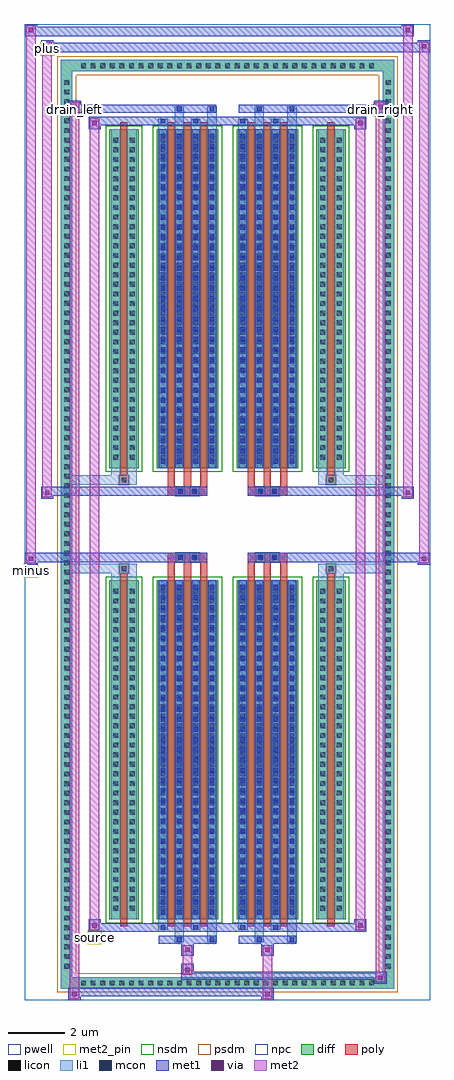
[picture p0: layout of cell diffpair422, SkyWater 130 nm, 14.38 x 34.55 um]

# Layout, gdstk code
import gdstk
lib = gdstk.Library(unit=1e-6, precision=5e-09)
def R(c, l, rs):  # rectangles x0, y0, x1, y1
    for r in rs: c.add(gdstk.rectangle(r[:2], r[2:], *l))
def A(c, l, x, y, w, h, nx, ny, dx, dy):  # array of equal rectangles
    R(c, l, [(x+i*dx, y+j*dy, x+i*dx+w, y+j*dy+h) for i in range(nx) for j in range(ny)])
def P(c, l, *ps):  # polygons
    for p in ps: c.add(gdstk.Polygon(p, *l))
pwell = (64, 44)
diff = (65, 20)
poly = (66, 20)
licon = (66, 44)
li1 = (67, 20)
mcon = (67, 44)
met1 = (68, 20)
via = (68, 44)
met2_pin = (69, 16)
met2 = (69, 20)
nsdm = (93, 44)
psdm = (94, 20)
npc = (95, 20)

diffpair422 = lib.new_cell('diffpair422')
R(diffpair422, pwell, [(-7.17,-16.84,7.17,17.71), (-4.49,-15.03,-0.01,-0.805), (0.01,-15.03,4.49,-0.805), (-4.49,0.805,-0.01,15.03), (0.01,0.805,4.49,15.03)])
A(diffpair422, diff, -5.305, -16.44, 0.41, 0.41, 31, 2, 0.34, 32.47)
A(diffpair422, diff, -5.9, -15.845, 0.41, 0.41, 1, 93, 0, 0.34)
A(diffpair422, diff, 5.49, -15.845, 0.41, 0.41, 1, 93, 0, 0.34)
R(diffpair422, diff, [(-5.305,-16.44,5.305,-16.03), (-5.9,-15.845,-5.49,15.845), (5.49,-15.845,5.9,15.845), (-4.18,-13.985,-3.15,-1.985), (-2.51,-13.985,-0.32,-1.985), (0.32,-13.985,2.51,-1.985), (3.15,-13.985,4.18,-1.985), (-4.18,1.985,-3.15,13.985), (-2.51,1.985,-0.32,13.985), (0.32,1.985,2.51,13.985), (3.15,1.985,4.18,13.985), (-5.305,16.03,5.305,16.44)])
P(diffpair422, diff, [(5.9,16.44),(-5.9,16.44),(-5.9,-16.03),(-5.49,-16.03),(-5.49,16.03),(5.49,16.03),(5.49,-16.03),(-5.49,-16.03),(-5.9,-16.03),(-5.9,-16.44),(5.9,-16.44)])
A(diffpair422, poly, -2.12, -14.235, 0.25, 12.5, 3, 2, 0.58, 15.97)
A(diffpair422, poly, 0.71, -14.235, 0.25, 12.5, 3, 2, 0.58, 15.97)
A(diffpair422, poly, -2.12, -1.735, 0.25, 0.4, 3, 2, 0.58, 3.07)
A(diffpair422, poly, 0.71, -1.735, 0.25, 0.4, 3, 2, 0.58, 3.07)
R(diffpair422, poly, [(-3.79,-14.235,-3.54,-1.735), (3.54,-14.235,3.79,-1.735), (-3.83,-1.735,-3.5,-1.405), (-3.83,-1.735,-3.5,-1.405), (3.5,-1.735,3.83,-1.405), (3.5,-1.735,3.83,-1.405), (-2.12,-1.335,-0.71,-1.005), (-1.83,-1.335,-1.5,-1.005), (-1.33,-1.335,-1,-1.005), (0.71,-1.335,2.12,-1.005), (1,-1.335,1.33,-1.005), (1.5,-1.335,1.83,-1.005), (-2.12,1.005,-0.71,1.335), (-1.83,1.005,-1.5,1.335), (-1.33,1.005,-1,1.335), (0.71,1.005,2.12,1.335), (1,1.005,1.33,1.335), (1.5,1.005,1.83,1.335), (-3.83,1.405,-3.5,1.735), (-3.83,1.405,-3.5,1.735), (3.5,1.405,3.83,1.735), (3.5,1.405,3.83,1.735), (-3.79,1.735,-3.54,14.235), (3.54,1.735,3.79,14.235)])
A(diffpair422, licon, -5.185, -16.32, 0.17, 0.17, 31, 2, 0.34, 32.47)
A(diffpair422, licon, -5.78, -15.725, 0.17, 0.17, 1, 93, 0, 0.34)
A(diffpair422, licon, 5.61, -15.725, 0.17, 0.17, 1, 93, 0, 0.34)
A(diffpair422, licon, -4.04, -13.68, 0.17, 0.17, 1, 34, 0, 0.34)
A(diffpair422, licon, -3.46, -13.68, 0.17, 0.17, 1, 34, 0, 0.34)
A(diffpair422, licon, -2.37, -13.68, 0.17, 0.17, 4, 34, 0.58, 0.34)
A(diffpair422, licon, 0.46, -13.68, 0.17, 0.17, 4, 34, 0.58, 0.34)
A(diffpair422, licon, 3.29, -13.68, 0.17, 0.17, 1, 34, 0, 0.34)
A(diffpair422, licon, 3.87, -13.68, 0.17, 0.17, 1, 34, 0, 0.34)
A(diffpair422, licon, -4.04, 2.29, 0.17, 0.17, 1, 34, 0, 0.34)
A(diffpair422, licon, -3.46, 2.29, 0.17, 0.17, 1, 34, 0, 0.34)
A(diffpair422, licon, -2.37, 2.29, 0.17, 0.17, 4, 34, 0.58, 0.34)
A(diffpair422, licon, 0.46, 2.29, 0.17, 0.17, 4, 34, 0.58, 0.34)
A(diffpair422, licon, 3.29, 2.29, 0.17, 0.17, 1, 34, 0, 0.34)
A(diffpair422, licon, 3.87, 2.29, 0.17, 0.17, 1, 34, 0, 0.34)
R(diffpair422, licon, [(-3.75,-1.655,-3.58,-1.485), (3.58,-1.655,3.75,-1.485), (-1.75,-1.255,-1.58,-1.085), (-1.25,-1.255,-1.08,-1.085), (1.08,-1.255,1.25,-1.085), (1.58,-1.255,1.75,-1.085), (-1.75,1.085,-1.58,1.255), (-1.25,1.085,-1.08,1.255), (1.08,1.085,1.25,1.255), (1.58,1.085,1.75,1.255), (-3.75,1.485,-3.58,1.655), (3.58,1.485,3.75,1.655)])
A(diffpair422, li1, -5.265, -16.4, 0.33, 0.33, 31, 2, 0.34, 32.47)
A(diffpair422, li1, -5.86, -15.805, 0.33, 0.33, 1, 93, 0, 0.34)
A(diffpair422, li1, 5.53, -15.805, 0.33, 0.33, 1, 93, 0, 0.34)
A(diffpair422, li1, -2.45, -13.985, 0.33, 12, 4, 2, 0.58, 15.97)
A(diffpair422, li1, 0.38, -13.985, 0.33, 12, 4, 2, 0.58, 15.97)
A(diffpair422, li1, -2.37, -13.83, 0.17, 0.17, 4, 33, 0.58, 0.36)
A(diffpair422, li1, -2.37, -13.83, 0.17, 11.69, 4, 2, 0.58, 15.97)
A(diffpair422, li1, 0.46, -13.83, 0.17, 0.17, 4, 33, 0.58, 0.36)
A(diffpair422, li1, 0.46, -13.83, 0.17, 11.69, 4, 2, 0.58, 15.97)
A(diffpair422, li1, -4.12, -13.76, 0.33, 0.33, 1, 34, 0, 0.34)
A(diffpair422, li1, -3.54, -13.76, 0.33, 0.33, 1, 34, 0, 0.34)
A(diffpair422, li1, -2.45, -13.76, 0.33, 0.33, 4, 34, 0.58, 0.34)
A(diffpair422, li1, 0.38, -13.76, 0.33, 0.33, 4, 34, 0.58, 0.34)
A(diffpair422, li1, 3.21, -13.76, 0.33, 0.33, 1, 34, 0, 0.34)
A(diffpair422, li1, 3.79, -13.76, 0.33, 0.33, 1, 34, 0, 0.34)
A(diffpair422, li1, -2.37, 2.14, 0.17, 0.17, 4, 33, 0.58, 0.36)
A(diffpair422, li1, 0.46, 2.14, 0.17, 0.17, 4, 33, 0.58, 0.36)
A(diffpair422, li1, -4.12, 2.21, 0.33, 0.33, 1, 34, 0, 0.34)
A(diffpair422, li1, -3.54, 2.21, 0.33, 0.33, 1, 34, 0, 0.34)
A(diffpair422, li1, -2.45, 2.21, 0.33, 0.33, 4, 34, 0.58, 0.34)
A(diffpair422, li1, 0.38, 2.21, 0.33, 0.33, 4, 34, 0.58, 0.34)
A(diffpair422, li1, 3.21, 2.21, 0.33, 0.33, 1, 34, 0, 0.34)
A(diffpair422, li1, 3.79, 2.21, 0.33, 0.33, 1, 34, 0, 0.34)
R(diffpair422, li1, [(-5.9,-16.44,-5.49,-16.03), (-5.9,-16.44,-5.49,-16.03), (-5.49,-16.44,5.49,-16.03), (5.49,-16.44,5.9,-16.03), (5.49,-16.44,5.9,-16.03), (-5.9,-16.03,-5.49,16.03), (5.49,-16.03,5.9,16.03), (-1.87,-14.79,-1.54,-13.985), (-1.79,-14.79,-1.62,-14.62), (-0.71,-14.79,-0.38,-13.985), (-0.63,-14.79,-0.46,-14.62), (0.96,-14.79,1.29,-13.985), (1.04,-14.79,1.21,-14.62), (2.12,-14.79,2.45,-13.985), (2.2,-14.79,2.37,-14.62), (-2.45,-14.36,-2.12,-13.985), (-2.37,-14.36,-2.2,-14.19), (-1.29,-14.36,-0.96,-13.985), (-1.21,-14.36,-1.04,-14.19), (0.38,-14.36,0.71,-13.985), (0.46,-14.36,0.63,-14.19), (1.54,-14.36,1.87,-13.985), (1.62,-14.36,1.79,-14.19), (-4.12,-13.985,-3.79,-1.985), (-3.54,-13.985,-3.21,-1.985), (3.21,-13.985,3.54,-1.985), (3.79,-13.985,4.12,-1.985), (-4.12,-1.985,-3.79,-1.405), (-3.54,-1.985,-3.21,-1.405), (3.21,-1.985,3.54,-1.405), (3.79,-1.985,4.12,-1.405), (-5.9,-1.735,-3.83,-1.405), (-4.12,-1.735,-3.83,-1.405), (-3.83,-1.735,-3.5,-1.405), (-3.5,-1.735,-3.21,-1.405), (3.21,-1.735,3.5,-1.405), (3.5,-1.735,3.83,-1.405), (3.5,-1.735,5.9,-1.405), (3.83,-1.735,4.12,-1.405), (-1.83,-1.335,-1.5,-1.005), (-1.33,-1.335,-1,-1.005), (1,-1.335,1.33,-1.005), (1.5,-1.335,1.83,-1.005), (-1.83,1.005,-1.5,1.335), (-1.33,1.005,-1,1.335), (1,1.005,1.33,1.335), (1.5,1.005,1.83,1.335), (-5.9,1.405,-3.83,1.735), (-4.12,1.405,-3.83,1.735), (-4.12,1.405,-3.79,1.985), (-3.83,1.405,-3.5,1.735), (-3.54,1.405,-3.21,1.985), (-3.5,1.405,-3.21,1.735), (3.21,1.405,3.5,1.735), (3.21,1.405,3.54,1.985), (3.5,1.405,3.83,1.735), (3.5,1.405,5.9,1.735), (3.79,1.405,4.12,1.985), (3.83,1.405,4.12,1.735), (-4.12,1.985,-3.79,13.985), (-3.54,1.985,-3.21,13.985), (3.21,1.985,3.54,13.985), (3.79,1.985,4.12,13.985), (-2.45,13.985,-2.12,14.36), (-1.87,13.985,-1.54,14.79), (-1.29,13.985,-0.96,14.36), (-0.71,13.985,-0.38,14.79), (0.38,13.985,0.71,14.36), (0.96,13.985,1.29,14.79), (1.54,13.985,1.87,14.36), (2.12,13.985,2.45,14.79), (-2.37,14.19,-2.2,14.36), (-1.21,14.19,-1.04,14.36), (0.46,14.19,0.63,14.36), (1.62,14.19,1.79,14.36), (-1.79,14.62,-1.62,14.79), (-0.63,14.62,-0.46,14.79), (1.04,14.62,1.21,14.79), (2.2,14.62,2.37,14.79), (-5.9,16.03,-5.49,16.44), (-5.9,16.03,-5.49,16.44), (-5.49,16.03,5.49,16.44), (5.49,16.03,5.9,16.44), (5.49,16.03,5.9,16.44)])
A(diffpair422, mcon, -2.37, -13.83, 0.17, 0.17, 4, 33, 0.58, 0.36)
A(diffpair422, mcon, 0.46, -13.83, 0.17, 0.17, 4, 33, 0.58, 0.36)
A(diffpair422, mcon, -2.37, 2.14, 0.17, 0.17, 4, 33, 0.58, 0.36)
A(diffpair422, mcon, 0.46, 2.14, 0.17, 0.17, 4, 33, 0.58, 0.36)
R(diffpair422, mcon, [(-1.79,-14.79,-1.62,-14.62), (-0.63,-14.79,-0.46,-14.62), (1.04,-14.79,1.21,-14.62), (2.2,-14.79,2.37,-14.62), (-2.37,-14.36,-2.2,-14.19), (-1.21,-14.36,-1.04,-14.19), (0.46,-14.36,0.63,-14.19), (1.62,-14.36,1.79,-14.19), (-1.75,-1.255,-1.58,-1.085), (-1.25,-1.255,-1.08,-1.085), (1.08,-1.255,1.25,-1.085), (1.58,-1.255,1.75,-1.085), (-1.75,1.085,-1.58,1.255), (-1.25,1.085,-1.08,1.255), (1.08,1.085,1.25,1.255), (1.58,1.085,1.75,1.255), (-2.37,14.19,-2.2,14.36), (-1.21,14.19,-1.04,14.36), (0.46,14.19,0.63,14.36), (1.62,14.19,1.79,14.36), (-1.79,14.62,-1.62,14.79), (-0.63,14.62,-0.46,14.79), (1.04,14.62,1.21,14.79), (2.2,14.62,2.37,14.79)])
A(diffpair422, met1, -2.43, -13.985, 0.29, 12, 4, 2, 0.58, 15.97)
A(diffpair422, met1, 0.4, -13.985, 0.29, 12, 4, 2, 0.58, 15.97)
A(diffpair422, met1, -2.43, -13.89, 0.29, 0.29, 4, 33, 0.58, 0.36)
A(diffpair422, met1, 0.4, -13.89, 0.29, 0.29, 4, 33, 0.58, 0.36)
A(diffpair422, met1, -2.43, 2.08, 0.29, 0.29, 4, 33, 0.58, 0.36)
A(diffpair422, met1, 0.4, 2.08, 0.29, 0.29, 4, 33, 0.58, 0.36)
R(diffpair422, met1, [(-5.63,-16.84,-5.2,-16.41), (1.2,-16.84,1.63,-16.41), (-5.63,-16.7,1.63,-16.41), (5.2,-16.27,5.63,-15.84), (-1.63,-16.13,5.63,-15.84), (-1.63,-15.99,-1.2,-15.56), (-1.63,-15.28,-1.2,-14.85), (1.2,-15.28,1.63,-14.85), (-2.43,-14.85,-0.4,-14.56), (-1.85,-14.85,-1.56,-14.56), (-0.69,-14.85,-0.4,-14.56), (0.4,-14.85,2.43,-14.56), (0.98,-14.85,1.27,-14.56), (2.14,-14.85,2.43,-14.56), (-4.92,-14.42,-4.49,-13.99), (-4.92,-14.42,-2.43,-14.13), (-2.43,-14.42,-2.14,-14.13), (-2.43,-14.42,-0.4,-14.13), (-1.27,-14.42,-0.98,-14.13), (-0.4,-14.42,0.4,-14.13), (0.4,-14.42,0.69,-14.13), (0.4,-14.42,2.43,-14.13), (1.56,-14.42,1.85,-14.13), (2.43,-14.42,4.92,-14.13), (4.49,-14.42,4.92,-13.99), (-7.17,-1.435,-6.74,-1.005), (6.74,-1.435,7.17,-1.005), (-7.17,-1.335,-0.71,-1.005), (-2.12,-1.335,-0.71,-1.005), (0.71,-1.335,2.12,-1.005), (0.71,-1.335,7.17,-1.005), (-1.81,-1.315,-1.52,-1.025), (-1.31,-1.315,-1.02,-1.025), (1.02,-1.315,1.31,-1.025), (1.52,-1.315,1.81,-1.025), (-6.6,0.905,-6.17,1.335), (6.17,0.905,6.6,1.335), (-6.6,1.005,-2.12,1.335), (-2.12,1.005,-0.71,1.335), (0.71,1.005,2.12,1.335), (2.12,1.005,6.6,1.335), (-1.81,1.025,-1.52,1.315), (-1.31,1.025,-1.02,1.315), (1.02,1.025,1.31,1.315), (1.52,1.025,1.81,1.315), (-4.92,13.99,-4.49,14.42), (4.49,13.99,4.92,14.42), (-4.92,14.13,-2.43,14.42), (-2.43,14.13,-2.14,14.42), (-2.43,14.13,-0.4,14.42), (-1.27,14.13,-0.98,14.42), (-0.4,14.13,0.4,14.42), (0.4,14.13,0.69,14.42), (0.4,14.13,2.43,14.42), (1.56,14.13,1.85,14.42), (2.43,14.13,4.92,14.42), (-5.63,14.56,-5.2,14.99), (-5.63,14.56,-2.43,14.85), (-2.43,14.56,-0.4,14.85), (-1.85,14.56,-1.56,14.85), (-0.69,14.56,-0.4,14.85), (0.4,14.56,2.43,14.85), (0.98,14.56,1.27,14.85), (2.14,14.56,2.43,14.85), (2.43,14.56,5.63,14.85), (5.2,14.56,5.63,14.99), (-6.6,16.71,-6.17,17.14), (-6.6,16.71,-4.49,17.04), (-4.49,16.71,4.49,17.04), (4.49,16.71,7.17,17.04), (6.74,16.71,7.17,17.14), (-7.17,17.28,-6.74,17.71), (-7.17,17.28,-4.49,17.61), (-4.49,17.28,4.49,17.61), (4.49,17.28,6.6,17.61), (6.17,17.28,6.6,17.71)])
R(diffpair422, via, [(-5.49,-16.7,-5.34,-16.55), (1.34,-16.7,1.49,-16.55), (5.34,-16.13,5.49,-15.98), (-1.49,-15.85,-1.34,-15.7), (-1.49,-15.14,-1.34,-14.99), (1.34,-15.14,1.49,-14.99), (-4.78,-14.28,-4.63,-14.13), (4.63,-14.28,4.78,-14.13), (-7.03,-1.295,-6.88,-1.145), (6.88,-1.295,7.03,-1.145), (-6.46,1.045,-6.31,1.195), (6.31,1.045,6.46,1.195), (-4.78,14.13,-4.63,14.28), (4.63,14.13,4.78,14.28), (-5.49,14.7,-5.34,14.85), (5.34,14.7,5.49,14.85), (-6.46,16.85,-6.31,17), (6.88,16.85,7.03,17), (-7.03,17.42,-6.88,17.57), (6.31,17.42,6.46,17.57)])
R(diffpair422, met2_pin, [(-4.955,-14.87,-4.455,-14.37), (-7.205,-1.885,-6.705,-1.385), (-5.665,14.44,-5.165,14.94), (5.165,14.44,5.665,14.94), (-6.635,16.59,-6.135,17.09)])
R(diffpair422, met2, [(-5.58,-16.79,-5.25,-16.46), (-5.58,-16.79,-5.25,14.94), (1.25,-16.79,1.58,-16.46), (1.25,-16.46,1.58,-15.23), (5.25,-16.22,5.58,-15.89), (5.25,-16.22,5.58,14.94), (-1.58,-15.94,-1.25,-15.61), (-1.58,-15.61,-1.25,-15.23), (-1.58,-15.23,-1.25,-14.9), (1.25,-15.23,1.58,-14.9), (-4.87,-14.37,-4.54,-14.04), (-4.87,-14.37,-4.54,14.37), (4.54,-14.37,4.87,-14.04), (4.54,-14.37,4.87,14.37), (-7.12,-1.385,-6.79,-1.055), (-7.12,-1.385,-6.79,17.66), (6.79,-1.385,7.12,-1.055), (6.79,-1.385,7.12,17.09), (-6.55,0.955,-6.22,1.285), (-6.55,0.955,-6.22,17.09), (6.22,0.955,6.55,1.285), (6.22,0.955,6.55,17.66), (-4.87,14.04,-4.54,14.37), (4.54,14.04,4.87,14.37), (-5.58,14.61,-5.25,14.94), (5.25,14.61,5.58,14.94), (-6.55,16.76,-6.22,17.09), (6.79,16.76,7.12,17.09), (-7.12,17.33,-6.79,17.66), (6.22,17.33,6.55,17.66)])
P(diffpair422, met2, [(7.12,-1.385),(7.12,-1.385),(7.12,-1.055),(7.12,-1.055)],
  [(7.12,16.76),(7.12,16.76),(7.12,17.09),(7.12,17.09)],
  [(-6.79,-1.385),(-6.79,-1.385),(-6.79,-1.055),(-6.79,-1.055)],
  [(-6.79,17.33),(-6.79,17.33),(-6.79,17.66),(-6.79,17.66)],
  [(6.55,0.955),(6.55,0.955),(6.55,1.285),(6.55,1.285)],
  [(6.55,17.33),(6.55,17.33),(6.55,17.66),(6.55,17.66)],
  [(-6.22,0.955),(-6.22,0.955),(-6.22,1.285),(-6.22,1.285)],
  [(-6.22,16.76),(-6.22,16.76),(-6.22,17.09),(-6.22,17.09)],
  [(-5.25,-16.79),(-5.25,-16.79),(-5.25,-16.46),(-5.25,-16.46)],
  [(-5.25,14.61),(-5.25,14.61),(-5.25,14.94),(-5.25,14.94)],
  [(5.58,-16.22),(5.58,-16.22),(5.58,-15.89),(5.58,-15.89)],
  [(5.58,14.61),(5.58,14.61),(5.58,14.94),(5.58,14.94)],
  [(-4.54,-14.37),(-4.54,-14.37),(-4.54,-14.04),(-4.54,-14.04)],
  [(-4.54,14.04),(-4.54,14.04),(-4.54,14.37),(-4.54,14.37)],
  [(4.87,-14.37),(4.87,-14.37),(4.87,-14.04),(4.87,-14.04)],
  [(4.87,14.04),(4.87,14.04),(4.87,14.37),(4.87,14.37)])
R(diffpair422, nsdm, [(-4.31,-14.115,-3.02,-1.855), (-2.64,-14.115,-0.19,-1.855), (0.19,-14.115,2.64,-1.855), (3.02,-14.115,4.31,-1.855), (-4.31,1.855,-3.02,14.115), (-2.64,1.855,-0.19,14.115), (0.19,1.855,2.64,14.115), (3.02,1.855,4.31,14.115)])
P(diffpair422, psdm, [(6.03,16.57),(-6.03,16.57),(-6.03,-15.9),(-5.36,-15.9),(-5.36,15.9),(5.36,15.9),(5.36,-15.9),(-5.36,-15.9),(-6.03,-15.9),(-6.03,-16.57),(6.03,-16.57)])
R(diffpair422, npc, [(-3.85,-1.755,-3.48,-1.385), (3.48,-1.755,3.85,-1.385), (-1.85,-1.355,-1.48,-0.985), (-1.85,-1.355,-0.98,-0.985), (-1.85,-1.355,-0.98,-0.985), (-1.35,-1.355,-0.98,-0.985), (0.98,-1.355,1.35,-0.985), (0.98,-1.355,1.85,-0.985), (0.98,-1.355,1.85,-0.985), (1.48,-1.355,1.85,-0.985), (-1.85,0.985,-1.48,1.355), (-1.85,0.985,-0.98,1.355), (-1.85,0.985,-0.98,1.355), (-1.35,0.985,-0.98,1.355), (0.98,0.985,1.35,1.355), (0.98,0.985,1.85,1.355), (0.98,0.985,1.85,1.355), (1.48,0.985,1.85,1.355), (-3.85,1.385,-3.48,1.755), (3.48,1.385,3.85,1.755)])
diffpair422.add(gdstk.Label('minus', (-6.955,-1.635), layer=69, texttype=5))
diffpair422.add(gdstk.Label('drain_right', (5.415,14.69), layer=69, texttype=5))
diffpair422.add(gdstk.Label('drain_left', (-5.415,14.69), layer=69, texttype=5))
diffpair422.add(gdstk.Label('source', (-4.705,-14.62), layer=69, texttype=5))
diffpair422.add(gdstk.Label('plus', (-6.385,16.84), layer=69, texttype=5))

lib.write_gds('diffpair422.gds')
